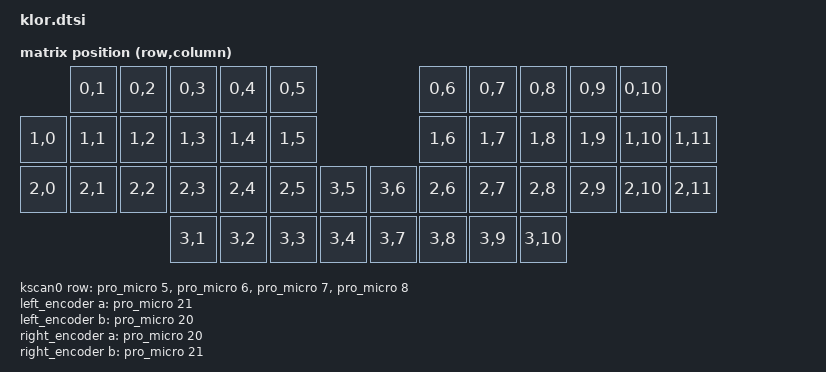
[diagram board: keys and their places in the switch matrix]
/*
 * Copyright (c) 2022 The ZMK Contributors
 *
 * SPDX-License-Identifier: MIT
 */

#include <dt-bindings/zmk/matrix_transform.h>

/ {
	chosen {
		zmk,kscan = &kscan0;
		zmk,matrix_transform = &default_transform;
	};

	default_transform: keymap_transform {
		compatible = "zmk,matrix-transform";
		columns = <12>;
		rows = <4>;
		map = <
		        RC(0,1) RC(0,2) RC(0,3) RC(0,4) RC(0,5)                 RC(0,6) RC(0,7) RC(0,8) RC(0,9) RC(0,10)
		RC(1,0) RC(1,1) RC(1,2) RC(1,3) RC(1,4) RC(1,5)                 RC(1,6) RC(1,7) RC(1,8) RC(1,9) RC(1,10) RC(1,11)
		RC(2,0) RC(2,1) RC(2,2) RC(2,3) RC(2,4) RC(2,5) RC(3,5) RC(3,6) RC(2,6) RC(2,7) RC(2,8) RC(2,9) RC(2,10) RC(2,11)
		                        RC(3,1) RC(3,2) RC(3,3) RC(3,4) RC(3,7) RC(3,8) RC(3,9) RC(3,10)
		>;
	};


	kscan0: kscan {
		compatible = "zmk,kscan-gpio-matrix";
		label = "KSCAN";

		diode-direction = "col2row";
		row-gpios
			= <&pro_micro 5 (GPIO_ACTIVE_HIGH | GPIO_PULL_DOWN)>
			, <&pro_micro 6 (GPIO_ACTIVE_HIGH | GPIO_PULL_DOWN)>
			, <&pro_micro 7 (GPIO_ACTIVE_HIGH | GPIO_PULL_DOWN)>
			, <&pro_micro 8 (GPIO_ACTIVE_HIGH | GPIO_PULL_DOWN)>
			;
	};

	left_encoder: encoder_left {
		compatible = "alps,ec11";
		label = "LEFT_ENCODER";
		a-gpios = <&pro_micro 21 (GPIO_ACTIVE_HIGH | GPIO_PULL_UP)>;
		b-gpios = <&pro_micro 20 (GPIO_ACTIVE_HIGH | GPIO_PULL_UP)>;
		resolution = <4>;
		//status = "disabled";
	};

	right_encoder: encoder_right {
		compatible = "alps,ec11";
		label = "RIGHT_ENCODER";
		a-gpios = <&pro_micro 20 (GPIO_ACTIVE_HIGH | GPIO_PULL_UP)>;
		b-gpios = <&pro_micro 21 (GPIO_ACTIVE_HIGH | GPIO_PULL_UP)>;
		resolution = <4>;
		//status = "disabled";
	};

	sensors {
		compatible = "zmk,keymap-sensors";
		sensors = <&left_encoder &right_encoder>;
	};
};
